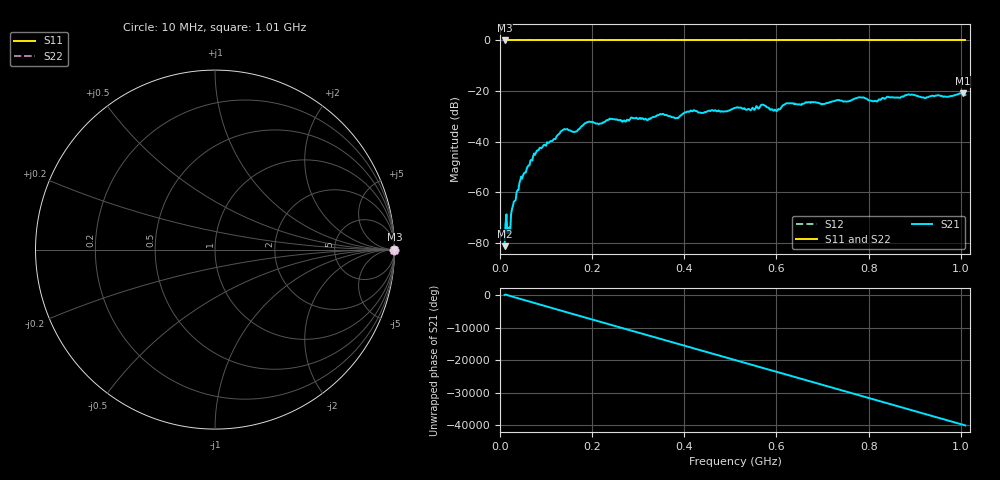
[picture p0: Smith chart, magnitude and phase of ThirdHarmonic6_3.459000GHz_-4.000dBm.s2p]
! 8/17/2025 11:11:36 AM
! C:\ANRITSUVNA\TEMP\TEMP.S2P
! CHANNEL.1
! TR.MEASUREMENT
! RAW.DATA
! RF.CORRECTION.OFF
! AVERAGING.OFF
! IF.BANDWIDTH: 5KHZ
! SWEEPTYPE:  FREQ.SWEEP(Linear)
! Reference Plane Port Info
! PORT:  PORT1  PORT2
! DISTANCE:  0  m  0  m
! TIME:  0  s  0  s
! PHASE.OFFSET:  0  deg.  0  deg.
! LOSS:  0  dB  0  dB
! REF.LOSS:  0  dB  0  dB
! REF.FREQ:  0  Hz  0  Hz
! Power Info
! POWER:  -20  dBm  -20  dBm
! EFF.POWER:  -20  dBm  -20  dBm
! SOURCE.ATTEN:  0  dB  0  dB
! TEST.ATTEN:  0  dB  0  dB
# GHZ S RI R 50.0
! FREQ.GHZ  S11RE  S11IM  S21RE  S21IM  S12RE  S12IM  S22RE  S22IM
!; PortSelection: Port_12
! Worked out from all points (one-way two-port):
!   501 points, 10 MHz to 1.01 GHz, reference 50 ohm
!   highest |S21| = -20.88 dB at 1.004 GHz (marker M1); lowest = -81.4 dB at 10 MHz (marker M2)
!   lowest |S11| = 0.0 dB at 10 MHz (marker M3)
!   |S11| at or under -10 dB: nowhere
!   |S22| runs from 0.0 to 0.0 dB; largest |S21 - S12| = 1.1
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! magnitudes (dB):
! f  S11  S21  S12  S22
! 10 MHz  0.0  -81.4  0.0  0.0
! 16 MHz  0.0  -76.2  0.0  0.0
! 20 MHz  0.0  -74.0  0.0  0.0
! 28 MHz  0.0  -65.5  0.0  0.0
! 46 MHz  0.0  -53.9  0.0  0.0
! 76 MHz  0.0  -45.3  0.0  0.0
! 136 MHz  0.0  -35.5  0.0  0.0
! 164 MHz  0.0  -36.1  0.0  0.0
! 178 MHz  0.0  -33.8  0.0  0.0
! 344 MHz  0.0  -29.6  0.0  0.0
! 384 MHz  0.0  -30.6  0.0  0.0
! 418 MHz  0.0  -28.0  0.0  0.0
! 510 MHz  0.0  -26.7  0.0  0.0
! 570 MHz  0.0  -25.4  0.0  0.0
! 598 MHz  0.0  -27.4  0.0  0.0
! 624 MHz  0.0  -24.8  0.0  0.0
! 678 MHz  0.0  -24.4  0.0  0.0
! 784 MHz  0.0  -22.6  0.0  0.0
! 814 MHz  0.0  -23.9  0.0  0.0
! 844 MHz  0.0  -22.4  0.0  0.0
! 1.004 GHz  0.0  -20.9  0.0  0.0
! 1.01 GHz  0.0  -21.6  0.0  0.0
